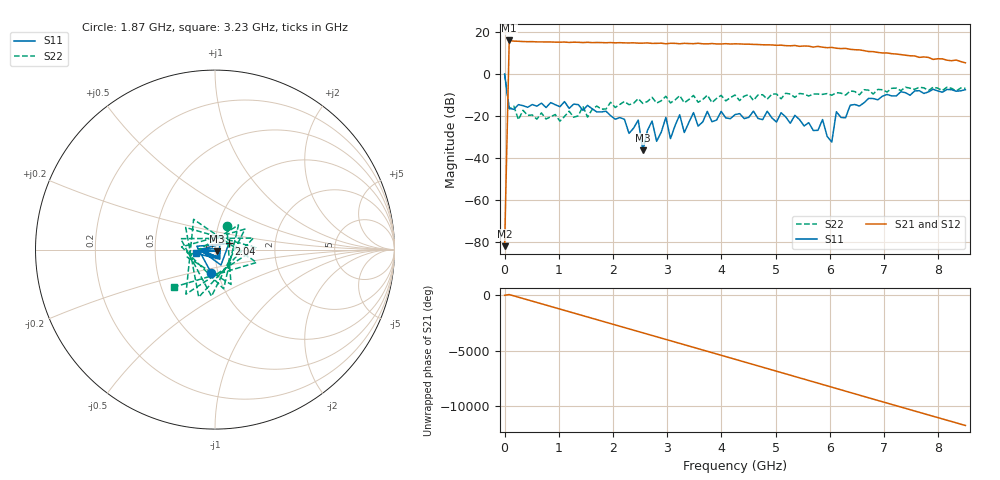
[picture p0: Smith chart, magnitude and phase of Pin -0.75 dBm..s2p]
! RsaToolbox (C) 2013 Rohde & Schwarz America
! Number of points: 101
! Number of ports: 2
! Balanced ports?: 0
# Hz S RI R 50
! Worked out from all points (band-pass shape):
!   101 points, 9 kHz to 8.5 GHz, reference 50 ohm
!   highest |S21| = 16.00 dB at 85.01 MHz (marker M1); lowest = -81.8 dB at 9 kHz (marker M2)
!   |S21| within 3 dB of the highest: 82.4 MHz to 5.666 GHz (5.584 GHz wide, 194 % of centre); 5.734 GHz to 5.821 GHz (86.83 MHz wide, 1.5 % of centre)
!   lowest |S11| = -36.3 dB at 2.55 GHz (marker M3), VSWR 1.03, Z = 51.3 - j0.886 ohm
!   |S11| at or under -10 dB: 52.4 MHz to 7.023 GHz (6.97 GHz wide, 197 % of centre); 7.093 GHz to 7.242 GHz (148.9 MHz wide, 2.08 % of centre); 7.475876 GHz to 7.482425 GHz (6.549 MHz wide, 0.0876 % of centre)
!   |S22| runs from -22.4 to 0.1 dB; largest |S21 - S12| = 0
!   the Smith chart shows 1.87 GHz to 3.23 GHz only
!   S11 on the Smith chart (normalised r, x): 1.87 GHz: 0.93, -0.24; 2.04 GHz: 1.16, +0.08; 3.23 GHz: 0.81, -0.03
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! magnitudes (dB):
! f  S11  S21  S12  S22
! 9 kHz  0.0  -81.8  -81.8  0.1
! 85.01 MHz  -16.2  16.0  16.0  -16.6
! 1.445 GHz  -17.3  15.0  15.0  -15.3
! 1.87 GHz  -17.6  14.9  14.9  -16.6
! 2.04 GHz  -21.5  14.9  14.9  -15.9
! 2.465 GHz  -21.9  14.7  14.7  -11.7
! 2.55 GHz  -36.3  14.7  14.7  -14.0
! 2.72 GHz  -22.3  14.6  14.6  -11.1
! 2.805 GHz  -32.0  14.6  14.6  -13.8
! 2.89 GHz  -27.6  14.7  14.7  -12.7
! 2.975 GHz  -20.6  14.4  14.4  -10.6
! 3.06 GHz  -30.7  14.7  14.7  -13.7
! 3.23 GHz  -19.4  14.4  14.4  -10.2
! 3.315 GHz  -27.8  14.6  14.6  -13.6
! 3.485 GHz  -18.3  14.5  14.5  -10.2
! 4.25 GHz  -19.3  14.4  14.4  -9.9
! 5.695 GHz  -26.8  12.8  12.8  -9.5
! 5.865 GHz  -21.6  12.8  12.8  -9.6
! 6.035 GHz  -32.3  12.7  12.7  -10.0
! 6.12 GHz  -17.9  12.3  12.3  -8.8
! 7.14 GHz  -10.4  9.7  9.7  -6.8
! 8.5 GHz  -7.4  5.3  5.3  -6.7
